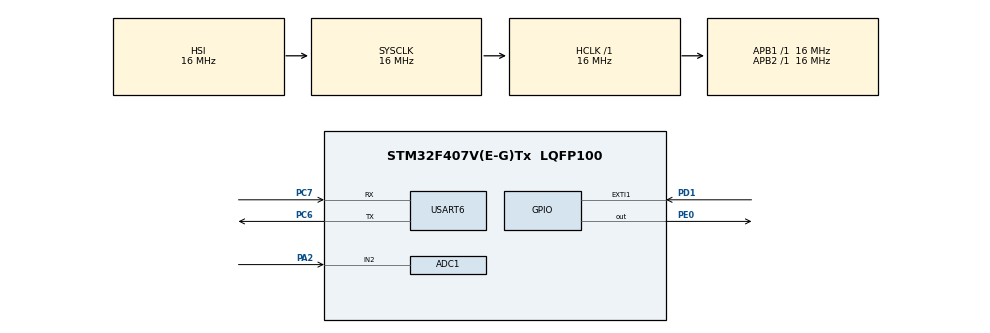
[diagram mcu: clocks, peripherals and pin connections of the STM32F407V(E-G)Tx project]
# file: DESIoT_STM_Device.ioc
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ADC1.Channel-0\#ChannelRegularConversion=ADC_CHANNEL_2
ADC1.ContinuousConvMode=DISABLE
ADC1.DMAContinuousRequests=DISABLE
ADC1.NbrOfConversionFlag=1
ADC1.Rank-0\#ChannelRegularConversion=1
ADC1.SamplingTime-0\#ChannelRegularConversion=ADC_SAMPLETIME_480CYCLES
ADC1.ScanConvMode=ENABLE
ADC1.master=1
Mcu.Family=STM32F4
Mcu.Name=STM32F407V(E-G)Tx
Mcu.Package=LQFP100
NVIC.EXTI1_IRQn=true\:1\:0\:true\:false\:true\:true\:true\:true
NVIC.PriorityGroup=NVIC_PRIORITYGROUP_4
NVIC.USART6_IRQn=true\:0\:0\:true\:false\:true\:true\:true\:true
PA13.Mode=Serial_Wire
PA13.Signal=SYS_JTMS-SWDIO
PA14.Mode=Serial_Wire
PA14.Signal=SYS_JTCK-SWCLK
PA2.Signal=ADCx_IN2
PC14-OSC32_IN.Mode=LSE-External-Oscillator
PC14-OSC32_IN.Signal=RCC_OSC32_IN
PC15-OSC32_OUT.Mode=LSE-External-Oscillator
PC15-OSC32_OUT.Signal=RCC_OSC32_OUT
PC6.Mode=Asynchronous
PC6.Signal=USART6_TX
PC7.Mode=Asynchronous
PC7.Signal=USART6_RX
PD1.Signal=GPXTI1
PE0.Signal=GPIO_Output
PH0-OSC_IN.Mode=HSE-External-Oscillator
PH0-OSC_IN.Signal=RCC_OSC_IN
PH1-OSC_OUT.Mode=HSE-External-Oscillator
PH1-OSC_OUT.Signal=RCC_OSC_OUT
ProjectManager.HeapSize=0x200
ProjectManager.StackSize=0x400
ProjectManager.TargetToolchain=STM32CubeIDE
RCC.AHBFreq_Value=16000000
RCC.APB1Freq_Value=16000000
RCC.APB2Freq_Value=16000000
RCC.CortexFreq_Value=16000000
RCC.HSE_VALUE=25000000
RCC.HSI_VALUE=16000000
RCC.SYSCLKFreq_VALUE=16000000
RCC.VCOOutputFreq_Value=192000000
SH.ADCx_IN2.0=ADC1_IN2,IN2
USART6.VirtualMode=VM_ASYNC
board=custom

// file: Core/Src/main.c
/* USER CODE BEGIN Header */
/**
 ******************************************************************************
 * @file           : main.c
 * @brief          : Main program body
 ******************************************************************************
 * @attention
 *
 * Copyright (c) 2023 STMicroelectronics.
 * All rights reserved.
 *
 * This software is licensed under terms that can be found in the LICENSE file
 * in the root directory of this software component.
 * If no LICENSE file comes with this software, it is provided AS-IS.
 *
 ******************************************************************************
 */
/* USER CODE END Header */
#include "main.h"

/* USER CODE BEGIN Includes */
#define DESIOT_CONFIG_ID "64c35b01b8f8d3dd7653f5cf"
#define DESIOT_DEVICE_ID "64c35b08b8f8d3dd7653f5d3"

#include <stdlib.h>
#include <time.h>

#include "DESIoT_device.h"
/* USER CODE END Includes */

 ADC_HandleTypeDef hadc1;

UART_HandleTypeDef huart6;

/* USER CODE BEGIN PV */
uint8_t ITReceive;
uint32_t lastTick = 0;

float realTemp;
uint8_t sensorTouched = 0;
/* USER CODE END PV */

void SystemClock_Config(void);
static void MX_GPIO_Init(void);
static void MX_USART6_UART_Init(void);
static void MX_ADC1_Init(void);
/* USER CODE BEGIN PFP */
void getRealTemperature();
void checkTouchSensor();
/* USER CODE END PFP */

int main(void)
{

  /* MCU Configuration--------------------------------------------------------*/

  /* Reset of all peripherals, Initializes the Flash interface and the Systick. */
  HAL_Init();

  /* Configure the system clock */
  SystemClock_Config();

  /* Initialize all configured peripherals */
  MX_GPIO_Init();
  MX_USART6_UART_Init();
  MX_ADC1_Init();
  /* USER CODE BEGIN 2 */
	HAL_UART_Receive_IT(&huart6, &ITReceive, 1);
	DESIoT_begin();
	DESIoT_readVS(DESIOT_VS1);
	srand((unsigned int)time(NULL));

  /* USER CODE END 2 */

  /* Infinite loop */
	while (1)
	{

    /* USER CODE BEGIN 3 */
		DESIoT_loop();

		if(HAL_GetTick() - lastTick > 1000)
		{
			lastTick = HAL_GetTick();
			checkTouchSensor();
			getRealTemperature();
			DESIoT_assignFloat(DESIOT_VS0, realTemp);
			DESIoT_assignInt(DESIOT_VS2, lastTick % 1000);
			DESIoT_assignString(DESIOT_VS5, "A Test String");
		}
	}
  /* USER CODE END 3 */
}

void SystemClock_Config(void)
{
  RCC_OscInitTypeDef RCC_OscInitStruct = {0};
  RCC_ClkInitTypeDef RCC_ClkInitStruct = {0};

  /** Configure the main internal regulator output voltage
  */
  __HAL_RCC_PWR_CLK_ENABLE();
  __HAL_PWR_VOLTAGESCALING_CONFIG(PWR_REGULATOR_VOLTAGE_SCALE1);

  /** Initializes the RCC Oscillators according to the specified parameters
  * in the RCC_OscInitTypeDef structure.
  */
  RCC_OscInitStruct.OscillatorType = RCC_OSCILLATORTYPE_HSI;
  RCC_OscInitStruct.HSIState = RCC_HSI_ON;
  RCC_OscInitStruct.HSICalibrationValue = RCC_HSICALIBRATION_DEFAULT;
  RCC_OscInitStruct.PLL.PLLState = RCC_PLL_NONE;
  if (HAL_RCC_OscConfig(&RCC_OscInitStruct) != HAL_OK)
  {
    Error_Handler();
  }

  /** Initializes the CPU, AHB and APB buses clocks
  */
  RCC_ClkInitStruct.ClockType = RCC_CLOCKTYPE_HCLK|RCC_CLOCKTYPE_SYSCLK
                              |RCC_CLOCKTYPE_PCLK1|RCC_CLOCKTYPE_PCLK2;
  RCC_ClkInitStruct.SYSCLKSource = RCC_SYSCLKSOURCE_HSI;
  RCC_ClkInitStruct.AHBCLKDivider = RCC_SYSCLK_DIV1;
  RCC_ClkInitStruct.APB1CLKDivider = RCC_HCLK_DIV1;
  RCC_ClkInitStruct.APB2CLKDivider = RCC_HCLK_DIV1;

  if (HAL_RCC_ClockConfig(&RCC_ClkInitStruct, FLASH_LATENCY_0) != HAL_OK)
  {
    Error_Handler();
  }
}

static void MX_ADC1_Init(void)
{

  ADC_ChannelConfTypeDef sConfig = {0};

  /** Configure the global features of the ADC (Clock, Resolution, Data Alignment and number of conversion)
  */
  hadc1.Instance = ADC1;
  hadc1.Init.ClockPrescaler = ADC_CLOCK_SYNC_PCLK_DIV2;
  hadc1.Init.Resolution = ADC_RESOLUTION_12B;
  hadc1.Init.ScanConvMode = ENABLE;
  hadc1.Init.ContinuousConvMode = DISABLE;
  hadc1.Init.DiscontinuousConvMode = DISABLE;
  hadc1.Init.ExternalTrigConvEdge = ADC_EXTERNALTRIGCONVEDGE_NONE;
  hadc1.Init.ExternalTrigConv = ADC_SOFTWARE_START;
  hadc1.Init.DataAlign = ADC_DATAALIGN_RIGHT;
  hadc1.Init.NbrOfConversion = 1;
  hadc1.Init.DMAContinuousRequests = DISABLE;
  hadc1.Init.EOCSelection = ADC_EOC_SINGLE_CONV;
  if (HAL_ADC_Init(&hadc1) != HAL_OK)
  {
    Error_Handler();
  }

  /** Configure for the selected ADC regular channel its corresponding rank in the sequencer and its sample time.
  */
  sConfig.Channel = ADC_CHANNEL_2;
  sConfig.Rank = 1;
  sConfig.SamplingTime = ADC_SAMPLETIME_480CYCLES;
  if (HAL_ADC_ConfigChannel(&hadc1, &sConfig) != HAL_OK)
  {
    Error_Handler();
  }

}

static void MX_USART6_UART_Init(void)
{

  huart6.Instance = USART6;
  huart6.Init.BaudRate = 115200;
  huart6.Init.WordLength = UART_WORDLENGTH_8B;
  huart6.Init.StopBits = UART_STOPBITS_1;
  huart6.Init.Parity = UART_PARITY_NONE;
  huart6.Init.Mode = UART_MODE_TX_RX;
  huart6.Init.HwFlowCtl = UART_HWCONTROL_NONE;
  huart6.Init.OverSampling = UART_OVERSAMPLING_16;
  if (HAL_UART_Init(&huart6) != HAL_OK)
  {
    Error_Handler();
  }

}

static void MX_GPIO_Init(void)
{
  GPIO_InitTypeDef GPIO_InitStruct = {0};

  /* GPIO Ports Clock Enable */
  __HAL_RCC_GPIOC_CLK_ENABLE();
  __HAL_RCC_GPIOH_CLK_ENABLE();
  __HAL_RCC_GPIOA_CLK_ENABLE();
  __HAL_RCC_GPIOD_CLK_ENABLE();
  __HAL_RCC_GPIOE_CLK_ENABLE();

  /*Configure GPIO pin Output Level */
  HAL_GPIO_WritePin(GPIOE, GPIO_PIN_0, GPIO_PIN_RESET);

  /*Configure GPIO pin : PD1 */
  GPIO_InitStruct.Pin = GPIO_PIN_1;
  GPIO_InitStruct.Mode = GPIO_MODE_IT_RISING;
  GPIO_InitStruct.Pull = GPIO_NOPULL;
  HAL_GPIO_Init(GPIOD, &GPIO_InitStruct);

  /*Configure GPIO pin : PE0 */
  GPIO_InitStruct.Pin = GPIO_PIN_0;
  GPIO_InitStruct.Mode = GPIO_MODE_OUTPUT_PP;
  GPIO_InitStruct.Pull = GPIO_NOPULL;
  GPIO_InitStruct.Speed = GPIO_SPEED_FREQ_LOW;
  HAL_GPIO_Init(GPIOE, &GPIO_InitStruct);

  /* EXTI interrupt init*/
  HAL_NVIC_SetPriority(EXTI1_IRQn, 1, 0);
  HAL_NVIC_EnableIRQ(EXTI1_IRQn);

}

/* USER CODE BEGIN 4 */
void HAL_UART_RxCpltCallback(UART_HandleTypeDef *huart)
{
	uint8_t rxByte = huart->Instance->DR;
	DESIOT_Rx1byte(rxByte);
	HAL_UART_Receive_IT(huart, &ITReceive, 1);
}

DESIOT_SENDBYTES
{
	while(HAL_UART_Transmit(&huart6, bytes, size, 1000) != HAL_OK);
}

DESIOT_MILLIS {
	return HAL_GetTick();
}
DESIOT_DEF_EXEC_SYNC(DESIOT_VS1) {

	uint8_t ledState = HAL_GPIO_ReadPin(GPIOE, GPIO_PIN_0);
	if(ledState != payload[0])
		HAL_GPIO_WritePin(GPIOE, GPIO_PIN_0, payload[0]);
}

void getRealTemperature()
{
	HAL_ADC_Start(&hadc1);
	if(HAL_ADC_PollForConversion(&hadc1, 5) == HAL_OK)
	{
		uint32_t adcVal = HAL_ADC_GetValue(&hadc1);
		float tempFahrenheit = (adcVal/4096.0)*3.3*100; // Fahrenheit
		realTemp = (tempFahrenheit - 32) * 0.555; // celcius

	}
	HAL_ADC_Stop(&hadc1);
}

void checkTouchSensor()
{
	if(sensorTouched)
	{
		sensorTouched = 0;

		HAL_GPIO_TogglePin(GPIOE, GPIO_PIN_0);

		//
		uint8_t ledState = HAL_GPIO_ReadPin(GPIOE, GPIO_PIN_0);
		DESIoT_assignInt(DESIOT_VS1, ledState);
	}
}

void HAL_GPIO_EXTI_Callback(uint16_t GPIO_Pin)
{
	if(GPIO_Pin == GPIO_PIN_1)
	{
		sensorTouched = 1;
	}
}

/* USER CODE END 4 */

void Error_Handler(void)
{
	__disable_irq();
	while (1)
	{
	}
}
